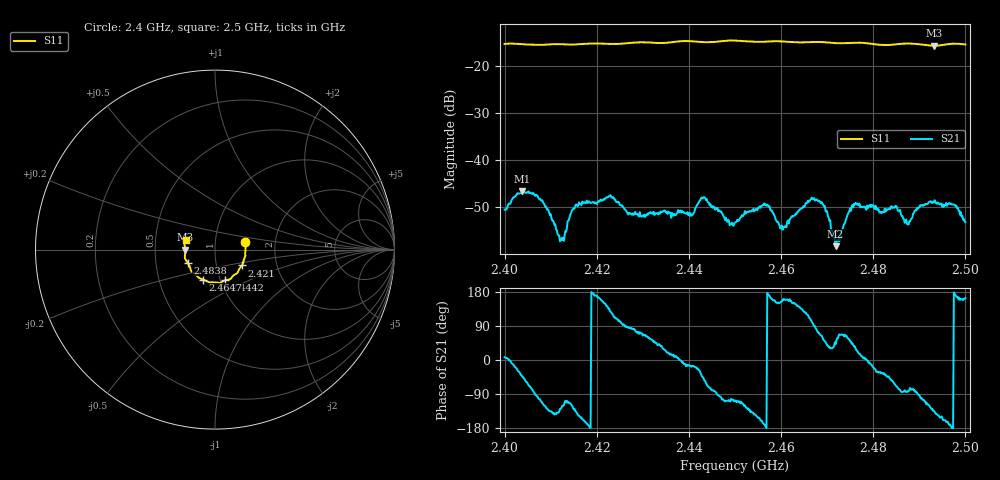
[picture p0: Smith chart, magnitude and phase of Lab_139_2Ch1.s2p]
# Hz S RI R 50
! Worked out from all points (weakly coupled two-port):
!   601 points, 2.4 GHz to 2.5 GHz, reference 50 ohm
!   highest |S21| = -46.48 dB at 2.4038 GHz (marker M1); lowest = -58.2 dB at 2.4718 GHz (marker M2)
!   lowest |S11| = -15.6 dB at 2.4932 GHz (marker M3), VSWR 1.40, Z = 35.8 - j0.0776 ohm
!   |S11| at or under -10 dB: start of sweep to end of sweep
!   S12 and S22 are empty: the file has one direction only
!   S11 on the Smith chart (normalised r, x): 2.4 GHz: 1.40, +0.12; 2.421 GHz: 1.33, -0.24; 2.4442 GHz: 1.05, -0.37; 2.4647 GHz: 0.83, -0.29; 2.4838 GHz: 0.73, -0.11; 2.5 GHz: 0.72, +0.08
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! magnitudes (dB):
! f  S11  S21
! 2.4 GHz  -15.2  -50.5
! 2.4038 GHz  -15.3  -46.5
! 2.4082 GHz  -15.4  -48.5
! 2.4125 GHz  -15.3  -56.9
! 2.4147 GHz  -15.4  -50.6
! 2.4167 GHz  -15.3  -49.5
! 2.421 GHz  -15.2  -48.5
! 2.4333 GHz  -15.0  -51.5
! 2.4442 GHz  -14.9  -48.9
! 2.45 GHz  -14.5  -53.2
! 2.4565 GHz  -14.8  -49.5
! 2.4603 GHz  -14.7  -54.7
! 2.4647 GHz  -14.9  -50.1
! 2.4667 GHz  -14.8  -47.9
! 2.4693 GHz  -14.9  -49.8
! 2.4718 GHz  -15.1  -58.2
! 2.4758 GHz  -15.0  -49.2
! 2.4833 GHz  -15.5  -50.4
! 2.4838 GHz  -15.4  -49.8
! 2.4873 GHz  -15.1  -53.5
! 2.4932 GHz  -15.6  -48.8
! 2.5 GHz  -15.3  -53.1
